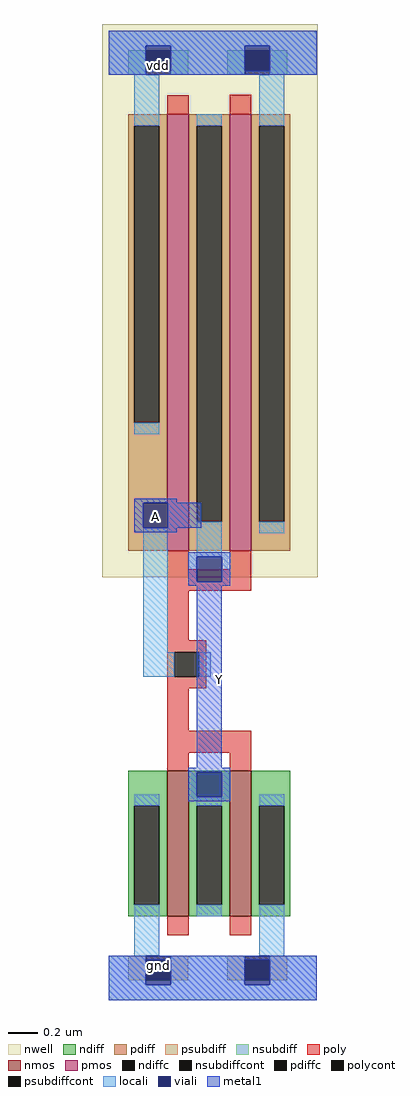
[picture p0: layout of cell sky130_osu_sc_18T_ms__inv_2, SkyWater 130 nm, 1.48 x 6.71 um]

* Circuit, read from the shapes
.subckt sky130_osu_sc_18T_ms__inv_2 Y A
XM1 Y A gnd gnd sky130_fd_pr__nfet_01v8 w=1 l=0.15 m=2
XM2 Y A vdd vdd sky130_fd_pr__pfet_01v8 w=3 l=0.15 m=2
.ends

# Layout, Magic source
magic
tech sky130A
magscale 1 2
<< nwell >>
rect -9 581 287 1341
<< nmos >>
rect 80 115 110 315
rect 166 115 196 315
<< pmos >>
rect 80 617 110 1217
rect 166 617 196 1217
<< ndiff >>
rect 27 267 80 315
rect 27 131 35 267
rect 69 131 80 267
rect 27 115 80 131
rect 110 267 166 315
rect 110 131 121 267
rect 155 131 166 267
rect 110 115 166 131
rect 196 267 249 315
rect 196 131 207 267
rect 241 131 249 267
rect 196 115 249 131
<< pdiff >>
rect 27 1201 80 1217
rect 27 793 35 1201
rect 69 793 80 1201
rect 27 617 80 793
rect 110 1201 166 1217
rect 110 657 121 1201
rect 155 657 166 1201
rect 110 617 166 657
rect 196 1201 249 1217
rect 196 657 207 1201
rect 241 657 249 1201
rect 196 617 249 657
<< ndiffc >>
rect 35 131 69 267
rect 121 131 155 267
rect 207 131 241 267
<< pdiffc >>
rect 35 793 69 1201
rect 121 657 155 1201
rect 207 657 241 1201
<< psubdiff >>
rect 27 27 51 61
rect 85 27 109 61
rect 163 27 187 61
rect 221 27 245 61
<< nsubdiff >>
rect 27 1271 51 1305
rect 85 1271 109 1305
rect 163 1271 187 1305
rect 221 1271 245 1305
<< psubdiffcont >>
rect 51 27 85 61
rect 187 27 221 61
<< nsubdiffcont >>
rect 51 1271 85 1305
rect 187 1271 221 1305
<< poly >>
rect 80 1217 110 1243
rect 166 1217 196 1244
rect 80 592 110 617
rect 166 592 196 617
rect 80 562 196 592
rect 80 494 110 562
rect 80 478 134 494
rect 80 444 90 478
rect 124 444 134 478
rect 80 428 134 444
rect 80 370 110 428
rect 80 340 196 370
rect 80 315 110 340
rect 166 315 196 340
rect 80 89 110 115
rect 166 89 196 115
<< polycont >>
rect 90 444 124 478
<< locali >>
rect 0 1311 286 1332
rect 0 1271 51 1311
rect 85 1271 187 1311
rect 221 1271 286 1311
rect 35 1201 69 1271
rect 35 777 69 793
rect 121 1201 155 1217
rect 47 478 81 649
rect 121 609 155 657
rect 207 1201 241 1271
rect 207 641 241 657
rect 47 444 90 478
rect 124 444 140 478
rect 35 267 69 283
rect 35 61 69 131
rect 121 267 155 279
rect 121 115 155 131
rect 207 267 241 283
rect 207 61 241 131
rect 0 21 51 61
rect 85 21 187 61
rect 221 21 286 61
rect 0 0 286 21
<< viali >>
rect 51 1305 85 1311
rect 51 1277 85 1305
rect 187 1305 221 1311
rect 187 1277 221 1305
rect 47 649 81 683
rect 121 575 155 609
rect 121 279 155 313
rect 51 27 85 55
rect 51 21 85 27
rect 187 27 221 55
rect 187 21 221 27
<< metal1 >>
rect 0 1311 286 1332
rect 0 1277 51 1311
rect 85 1277 187 1311
rect 221 1277 286 1311
rect 0 1271 286 1277
rect 35 683 93 689
rect 35 649 47 683
rect 81 649 127 683
rect 35 643 93 649
rect 109 609 167 615
rect 109 575 121 609
rect 155 575 167 609
rect 109 569 167 575
rect 121 319 155 569
rect 109 313 167 319
rect 109 279 121 313
rect 155 279 167 313
rect 109 273 167 279
rect 0 55 286 61
rect 0 21 51 55
rect 85 21 187 55
rect 221 21 286 55
rect 0 0 286 21
<< labels >>
rlabel metal1 152 440 152 440 1 Y
port 1 n
rlabel metal1 64 665 64 665 1 A
port 2 n
rlabel viali 68 48 68 48 1 gnd
rlabel viali 68 1284 68 1284 1 vdd
<< end >>
